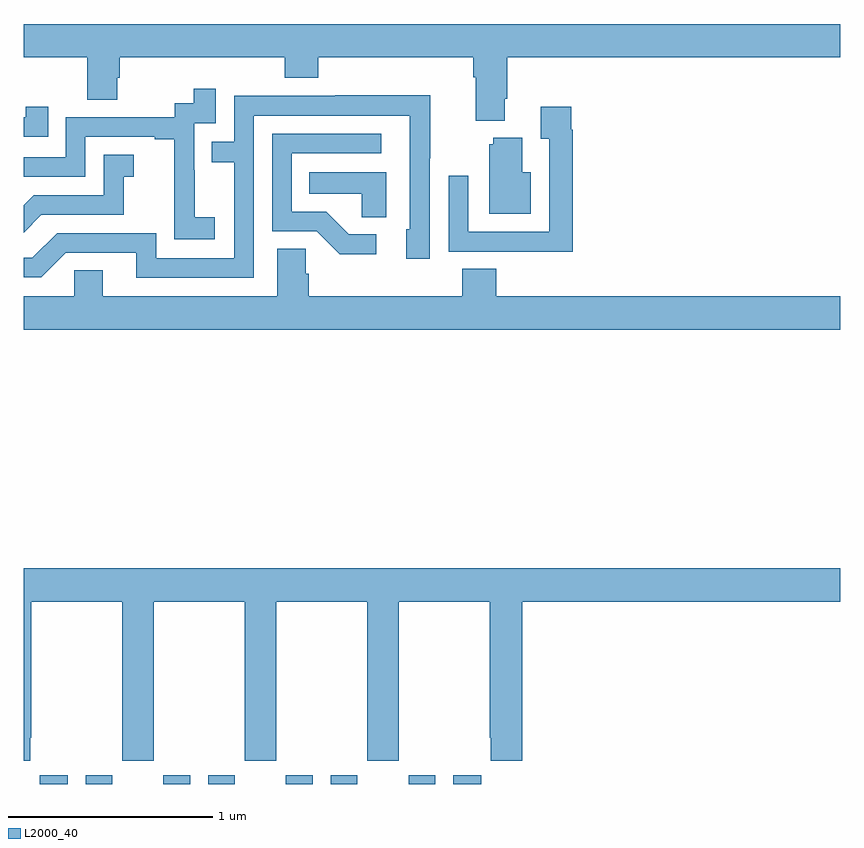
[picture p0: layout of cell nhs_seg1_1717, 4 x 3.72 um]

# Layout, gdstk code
import gdstk
lib = gdstk.Library(unit=1e-6, precision=1e-09)
def R(c, l, rs):  # rectangles x0, y0, x1, y1
    for r in rs: c.add(gdstk.rectangle(r[:2], r[2:], *l))
def P(c, l, *ps):  # polygons
    for p in ps: c.add(gdstk.Polygon(p, *l))
L2000_40 = (2000, 40)

nhs_seg1_1717 = lib.new_cell('nhs_seg1_1717')
R(nhs_seg1_1717, L2000_40, [(205.079,524.199,205.216,524.242), (205.304,524.199,205.435,524.242), (205.685,524.199,205.816,524.242), (205.904,524.199,206.035,524.242), (206.285,524.199,206.416,524.242), (206.504,524.199,206.635,524.242), (206.885,524.199,207.016,524.242), (207.104,524.199,207.241,524.242)])
P(nhs_seg1_1717, L2000_40, [(207.355,527.554),(207.368,527.554),(207.368,527.756),(209,527.756),(209,527.92),(205,527.92),(205,527.756),(205.312,527.756),(205.312,527.548),(205.459,527.548),(205.459,527.658),(205.472,527.658),(205.472,527.756),(206.279,527.756),(206.279,527.657),(206.444,527.657),(206.444,527.756),(207.203,527.756),(207.203,527.66),(207.215,527.66),(207.215,527.447),(207.355,527.447)],
  [(205.936,526.975),(205.838,526.975),(205.838,527.204),(205.836,527.204),(205.836,527.433),(205.941,527.433),(205.941,527.602),(205.833,527.602),(205.833,527.532),(205.74,527.532),(205.74,527.463),(205.206,527.463),(205.206,527.268),(205,527.268),(205,527.172),(205.302,527.172),(205.302,527.367),(205.643,527.367),(205.643,527.355),(205.739,527.355),(205.739,527.071),(205.738,527.071),(205.738,526.865),(205.936,526.865)],
  [(206.127,527.472),(206.892,527.472),(206.892,526.914),(206.873,526.914),(206.873,526.77),(206.988,526.77),(206.988,527.263),(206.991,527.263),(206.991,527.57),(206.527,527.57),(206.527,527.568),(206.031,527.568),(206.031,527.343),(205.921,527.343),(205.921,527.242),(206.031,527.242),(206.031,526.773),(205.65,526.773),(205.65,526.896),(205.164,526.896),(205.044,526.776),(205,526.776),(205,526.68),(205.086,526.68),(205.206,526.8),(205.553,526.8),(205.553,526.677),(206.127,526.677)],
  [(205.121,527.515),(205.01,527.515),(205.01,527.463),(205,527.463),(205,527.367),(205.121,527.367)],
  [(207.689,527.402),(207.682,527.402),(207.682,527.515),(207.533,527.515),(207.533,527.359),(207.573,527.359),(207.573,526.902),(207.177,526.902),(207.177,527.176),(207.081,527.176),(207.081,526.806),(207.397,526.806),(207.397,526.805),(207.689,526.805)],
  [(206.728,526.89),(206.593,526.89),(206.482,527.001),(206.313,527.001),(206.313,527.286),(206.752,527.286),(206.752,527.382),(206.217,527.382),(206.217,526.905),(206.436,526.905),(206.549,526.793),(206.728,526.793)],
  [(207.484,527.194),(207.442,527.194),(207.442,527.362),(207.299,527.362),(207.299,527.331),(207.281,527.331),(207.281,526.991),(207.484,526.991)],
  [(205.087,526.986),(205.491,526.986),(205.491,527.171),(205.54,527.171),(205.54,527.281),(205.392,527.281),(205.392,527.082),(205.05,527.082),(205,527.032),(205,526.899)],
  [(206.776,527.194),(206.398,527.194),(206.398,527.09),(206.655,527.09),(206.655,526.975),(206.776,526.975)],
  [(209,526.588),(207.314,526.588),(207.314,526.721),(207.149,526.721),(207.149,526.588),(206.396,526.588),(206.396,526.697),(206.382,526.697),(206.382,526.82),(206.243,526.82),(206.243,526.588),(205.387,526.588),(205.387,526.715),(205.248,526.715),(205.248,526.588),(205,526.588),(205,526.424),(209,526.424)],
  [(205.033,524.425),(205.038,524.425),(205.038,525.092),(205.483,525.092),(205.483,524.313),(205.638,524.313),(205.638,525.092),(206.083,525.092),(206.083,524.313),(206.238,524.313),(206.238,525.092),(206.683,525.092),(206.683,524.313),(206.838,524.313),(206.838,525.092),(207.283,525.092),(207.283,524.425),(207.287,524.425),(207.287,524.313),(207.443,524.313),(207.443,525.092),(209,525.092),(209,525.256),(205,525.256),(205,524.313),(205.033,524.313)])

lib.write_gds('nhs_seg1_1717.gds')
